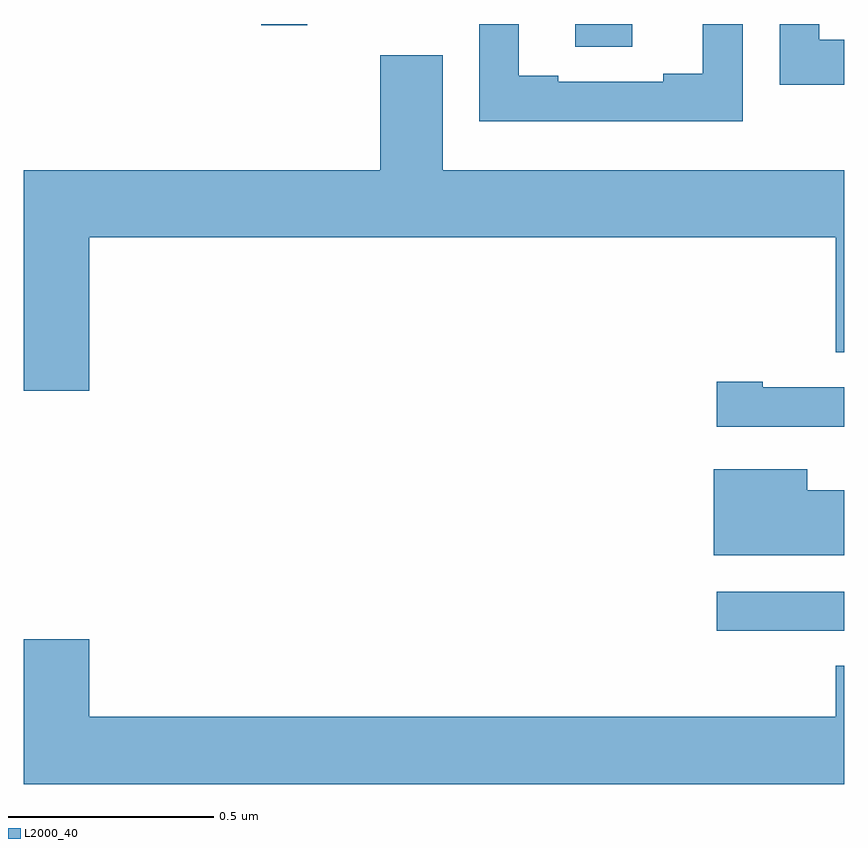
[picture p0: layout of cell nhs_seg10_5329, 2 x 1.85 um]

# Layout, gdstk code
import gdstk
lib = gdstk.Library(unit=1e-6, precision=1e-09)
def R(c, l, rs):  # rectangles x0, y0, x1, y1
    for r in rs: c.add(gdstk.rectangle(r[:2], r[2:], *l))
def P(c, l, *ps):  # polygons
    for p in ps: c.add(gdstk.Polygon(p, *l))
L2000_40 = (2000, 40)

nhs_seg10_5329 = lib.new_cell('nhs_seg10_5329')
R(nhs_seg10_5329, L2000_40, [(178.689,1302.021,179,1302.117), (178.344,1303.444,178.483,1303.5), (177.579,1303.497,177.691,1303.5)])
P(nhs_seg10_5329, L2000_40, [(178.752,1303.5),(178.655,1303.5),(178.655,1303.379),(178.559,1303.379),(178.559,1303.359),(178.303,1303.359),(178.303,1303.374),(178.207,1303.374),(178.207,1303.5),(178.11,1303.5),(178.11,1303.263),(178.752,1303.263)],
  [(179,1303.462),(178.939,1303.462),(178.939,1303.5),(178.842,1303.5),(178.842,1303.352),(179,1303.352)],
  [(177.16,1302.98),(178.979,1302.98),(178.979,1302.7),(179,1302.7),(179,1303.144),(178.021,1303.144),(178.021,1303.424),(177.869,1303.424),(177.869,1303.144),(177,1303.144),(177,1302.606),(177.16,1302.606)],
  [(179,1302.615),(178.801,1302.615),(178.801,1302.628),(178.689,1302.628),(178.689,1302.519),(179,1302.519)],
  [(179,1302.364),(178.909,1302.364),(178.909,1302.415),(178.682,1302.415),(178.682,1302.206),(179,1302.206)],
  [(179,1301.936),(178.979,1301.936),(178.979,1301.812),(177.16,1301.812),(177.16,1302.001),(177,1302.001),(177,1301.648),(179,1301.648)])

lib.write_gds('nhs_seg10_5329.gds')
